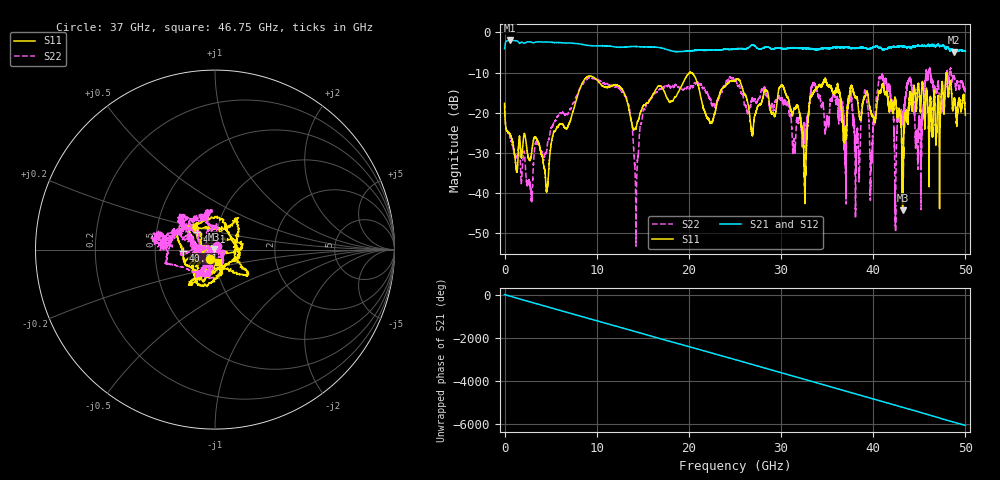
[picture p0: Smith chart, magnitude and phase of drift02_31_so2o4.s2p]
!Created with skrf (http://scikit-rf.org).
# Hz S RI R 50.0
!freq ReS11 ImS11 ReS21 ImS21 ReS12 ImS12 ReS22 ImS22
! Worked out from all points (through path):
!   10001 points, 300 kHz to 50 GHz, reference 50 ohm
!   highest |S21| = -1.99 dB at 555.3 MHz (marker M1); lowest = -4.8 dB at 48.76 GHz (marker M2)
!   group delay of S21, straight-line fit = 337 ps
!   lowest |S11| = -44.3 dB at 43.19 GHz (marker M3), VSWR 1.01, Z = 49.5 + j0.359 ohm
!   |S11| at or under -10 dB: start of sweep to 20.07 GHz; 20.20693 GHz to 20.22313 GHz (16.2 MHz wide, 0.0801 % of centre); 20.24 GHz to end of sweep (the widest 3 of 4)
!   |S22| runs from -53.2 to -8.8 dB; largest |S21 - S12| = 0.032
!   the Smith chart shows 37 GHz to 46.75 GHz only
!   S11 on the Smith chart (normalised r, x): 37 GHz: 0.94, -0.09; 40.81 GHz: 0.70, -0.01; 44.1 GHz: 0.80, +0.17; 46.75 GHz: 1.02, -0.14
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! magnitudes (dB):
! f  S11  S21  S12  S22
! 300 kHz  -17.7  -4.0  -4.0  -17.5
! 555.3 MHz  -25.1  -2.0  -2.0  -25.9
! 4.565 GHz  -39.8  -2.4  -2.4  -29.4
! 8.335 GHz  -13.0  -2.9  -2.9  -13.2
! 13.01 GHz  -15.3  -3.7  -3.7  -15.7
! 14.28 GHz  -23.8  -3.5  -3.5  -45.4
! 16.67 GHz  -13.4  -3.7  -3.7  -14.5
! 25 GHz  -12.1  -4.1  -4.1  -12.1
! 32.56 GHz  -39.9  -3.9  -4.0  -24.1
! 33.34 GHz  -15.7  -4.0  -4.1  -13.6
! 37 GHz  -24.7  -3.6  -3.5  -31.7
! 39.14 GHz  -15.7  -3.9  -3.9  -14.2
! 39.81 GHz  -20.2  -4.0  -4.0  -31.6
! 40.81 GHz  -14.9  -3.8  -3.9  -11.5
! 41.67 GHz  -18.5  -3.8  -3.9  -12.8
! 42.43 GHz  -16.9  -3.6  -3.6  -49.7
! 43.19 GHz  -44.3  -3.6  -3.6  -22.3
! 44.1 GHz  -17.0  -4.0  -4.0  -12.4
! 44.99 GHz  -14.5  -3.4  -3.3  -20.9
! 46.75 GHz  -23.0  -3.4  -3.4  -14.2
! 48.76 GHz  -16.8  -4.8  -4.8  -10.7
! 50 GHz  -20.6  -4.6  -4.6  -15.1
